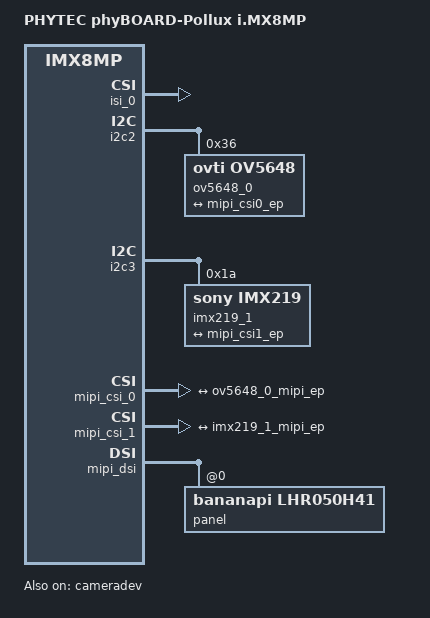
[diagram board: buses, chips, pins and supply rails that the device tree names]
// SPDX-License-Identifier: GPL-2.0
/*
 * Copyright (C) 2020 PHYTEC Messtechnik GmbH
 * Author: Teresa Remmet <t.remmet@phytec.de>
 */

/dts-v1/;

#include "imx8mp-phycore-som.dtsi"
#include "imx8mp-phyboard-pollux.dtsi"
#include "imx8mp-phyboard-pollux-peb-av-010.dtsi"
#include "imx8mp-phyboard-pollux-peb-wlbt-05.dtsi"

/ {
	model = "PHYTEC phyBOARD-Pollux i.MX8MP";
	compatible = "phytec,imx8mp-phyboard-pollux-rdk",
		     "phytec,imx8mp-phycore-som", "fsl,imx8mp";

};

&cameradev {
	status = "okay";
};

&flash0 {
	status = "okay";
};

&cam_clk {
	clock-frequency = <24000000>;
};

&isi_0 {
	status = "okay";

	cap_device {
		status = "okay";
	};

    m2m_device {
		status = "okay";
    };
};

&isi_1 {
	status = "disabled";

	cap_device {
		status = "okay";
	};
};

&i2c2 {
	ov5648_0: ov5648_mipi_0@36 {
		reg = <0x36>;
		clocks = <&cam_clk>;
		assigned-clocks = <&cam_clk>;
		csi_id = <0>;
		assigned-clock-rates = <24000000>;
		clock-names = "ext";
		compatible = "ovti,ov5648";
		mipi_csi;
		status = "disabled";

		port {
			ov5648_0_mipi_ep: endpoint {
				data-lanes = <1 2>;
				clock-lanes = <0>;
				bus-type = <4>;
				link-frequencies = /bits/ 64 <210000000 168000000>;
				remote-endpoint = <&mipi_csi0_ep>;
			};
		};
	};
};

&i2c3 {
	/delete-node/vm016;
	imx219_1: imx219_mipi_1@1a {
		compatible = "sony,imx219";
		reg = <0x1a>;
		clocks = <&cam_clk>;
		assigned-clocks = <&cam_clk>;
		csi_id = <1>;
		assigned-clock-rates = <24000000>;
		clock-names = "ext";
		status = "disabled";

		port {
			imx219_1_mipi_ep: endpoint {
				remote-endpoint = <&mipi_csi1_ep>;
				data-lanes = <1 2>;
				clock-noncontinuous;
				link-frequencies = /bits/ 64 <456000000>;
			};
		};
	};
};

&mipi_csi_0 {
	status = "okay";
	port@0 {
		reg = <0>;
		mipi_csi0_ep: endpoint {
			remote-endpoint = <&ov5648_0_mipi_ep>;
		};
	};
};

&mipi_csi_1 {
	status = "okay";
	port@1 {
		reg = <1>;
		mipi_csi1_ep: endpoint {
			remote-endpoint = <&imx219_1_mipi_ep>;
		};
	};
};

&ov5648_0 {
	status = "okay";
};

&imx219_1 {
	status = "okay";
};

&mipi_dsi {
	panel@0 {
		compatible = "bananapi,lhr050h41";
		reg = <0>;
		/* pinctrl-0 = <&pinctrl_mipi_dsi_en>; */
		/* reset-gpio = <&gpio1 8 GPIO_ACTIVE_LOW>; */
		dsi-lanes = <4>;
		video-mode = <2>;	/* 0: burst mode
					 * 1: non-burst mode with sync event
					 * 2: non-burst mode with sync pulse
					 */
		panel-width-mm = <62>;
		panel-height-mm = <110>;
		status = "okay";
	};
};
